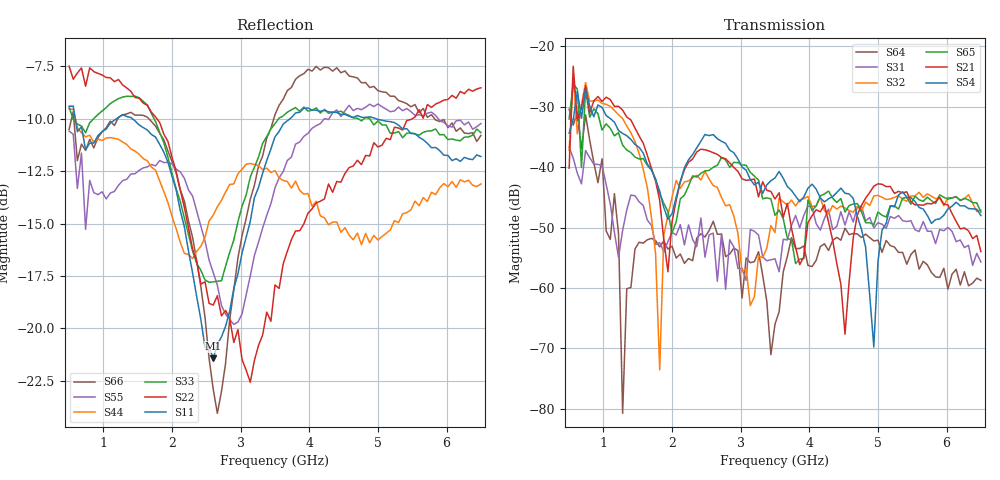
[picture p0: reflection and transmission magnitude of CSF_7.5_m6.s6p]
!Keysight Technologies,M9804A,MY58100912,A.14.10.03
!Date: Thursday, April 27, 2023 10:28:33
!Correction: S11(C  6-Port  )
!S12(C  6-Port  )
!S13(C  6-Port  )
!S14(C  6-Port  )
!S15(C  6-Port  )
!S16(C  6-Port  )
!S21(C  6-Port  )
!S22(C  6-Port  )
!S23(C  6-Port  )
!S24(C  6-Port  )
!S25(C  6-Port  )
!S26(C  6-Port  )
!S31(C  6-Port  )
!S32(C  6-Port  )
!S33(C  6-Port  )
!S34(C  6-Port  )
!S35(C  6-Port  )
!S36(C  6-Port  )
!S41(C  6-Port  )
!S42(C  6-Port  )
!S43(C  6-Port  )
!S44(C  6-Port  )
!S45(C  6-Port  )
!S46(C  6-Port  )
!S51(C  6-Port  )
!S52(C  6-Port  )
!S53(C  6-Port  )
!S54(C  6-Port  )
!S55(C  6-Port  )
!S56(C  6-Port  )
!S61(C  6-Port  )
!S62(C  6-Port  )
!S63(C  6-Port  )
!S64(C  6-Port  )
!S65(C  6-Port  )
!S66(C  6-Port  )
!S6P File: Measurement: :
# Hz S  RI  R 50
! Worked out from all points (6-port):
!   101 points, 500 MHz to 6.5 GHz, reference 50 ohm
!   strongest paths, dB at 500 MHz, 2 GHz, 3.5 GHz, 5 GHz, 6.5 GHz:
!     S54: -34.3, -47.7, -41.8, -55.7, -48.0
!     S21: -40.2, -49.0, -45.3, -42.8, -54.0
!     S65: -32.0, -50.9, -48.0, -47.4, -47.4
!     S32: -37.2, -45.0, -50.8, -44.7, -47.1
!     S31: -36.7, -50.8, -55.2, -49.2, -55.7
!     S64: -30.4, -53.1, -66.0, -52.1, -58.7
!   lowest |S11| = -21.4 dB at 2.6 GHz (marker M1), VSWR 1.19, Z = 42.5 + j2.24 ohm
!   |S11| at or under -10 dB: 589.9 MHz to 1.189 GHz (598.9 MHz wide, 67.3 % of centre); 1.424 GHz to 3.716 GHz (2.292 GHz wide, 89.2 % of centre); 4.976 GHz to end of sweep
